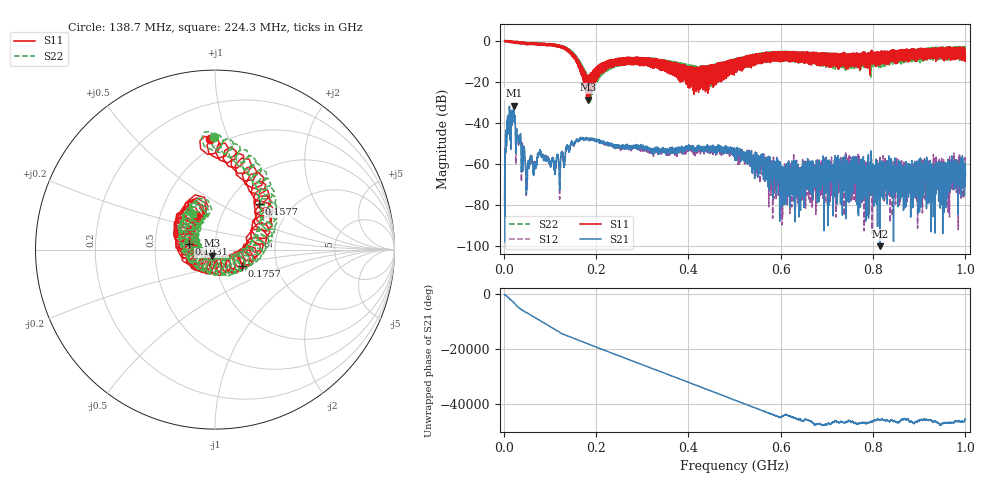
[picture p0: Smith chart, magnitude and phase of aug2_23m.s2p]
!Keysight Technologies N9923A: A.12.45
!Date: Saturday, 02 August 2025 19:11:17
!Timezone: (UTC+08:00) Kuala Lumpur, Singapore
!Model: N9923A
!Serial: MY61181427
!GPS Latitude:
!GPS Longitude:
!GPS TimeStamp: 0001-01-01 00:00:00Z
!GPS Seconds Since Last Read: 0
!CHECKSUM:1922865536
!Correction: S11(ON U)S21(ON U)S12(ON U)S22(ON U)
!S2P File: Measurements:S11,S21,S12,S22:
# Hz S DB R 50
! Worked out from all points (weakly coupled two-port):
!   4001 points, 2 MHz to 1 GHz, reference 50 ohm
!   highest |S21| = -31.62 dB at 21.96 MHz (marker M1); lowest = -100.3 dB at 814.4 MHz (marker M2)
!   lowest |S11| = -28.8 dB at 182.9 MHz (marker M3), VSWR 1.08, Z = 48.4 - j3.2 ohm
!   |S11| at or under -10 dB: 162.4 MHz to 223.5 MHz (61.04 MHz wide, 31.6 % of centre); 223.7 MHz to 225.2 MHz (1.481 MHz wide, 0.66 % of centre); 352.9 MHz to 484.7 MHz (131.8 MHz wide, 31.5 % of centre) (the widest 3 of 281)
!   |S22| runs from -30.3 to 0.1 dB; largest |S21 - S12| = 0.0026
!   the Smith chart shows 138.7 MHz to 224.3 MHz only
!   S11 on the Smith chart (normalised r, x): 138.7 MHz: 0.43, +0.86; 157.7 MHz: 1.39, +0.80; 175.7 MHz: 1.33, -0.26; 193.1 MHz: 0.75, +0.04; 224.3 MHz: 0.76, +0.30
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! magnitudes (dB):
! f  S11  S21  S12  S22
! 2 MHz  -0.1  -80.1  -77.5  -0.1
! 8.487 MHz  0.0  -36.7  -36.5  -0.2
! 17.22 MHz  -0.5  -35.8  -35.9  -0.6
! 21.96 MHz  -0.6  -31.6  -32.0  -0.7
! 51.9 MHz  -1.1  -61.4  -61.6  -0.8
! 78.1 MHz  -2.2  -54.1  -53.5  -2.0
! 117.8 MHz  -2.7  -57.0  -56.9  -2.3
! 138.7 MHz  -4.2  -51.9  -52.0  -4.1
! 157.7 MHz  -9.1  -48.3  -49.1  -7.9
! 168.4 MHz  -14.9  -47.6  -48.0  -15.0
! 175.7 MHz  -15.0  -47.8  -48.2  -14.3
! 182.9 MHz  -28.8  -47.6  -48.2  -22.8
! 193.1 MHz  -16.7  -48.1  -48.5  -23.4
! 224.3 MHz  -13.4  -50.0  -50.9  -12.5
! 334.8 MHz  -11.6  -53.7  -53.5  -9.4
! 417.2 MHz  -24.8  -53.9  -54.7  -15.0
! 501 MHz  -12.4  -53.9  -57.3  -13.4
! 606.5 MHz  -9.5  -68.3  -71.9  -6.8
! 667.4 MHz  -6.7  -62.1  -70.3  -10.4
! 814.4 MHz  -7.3  -100.3  -64.0  -8.8
! 833.8 MHz  -6.8  -65.7  -73.9  -7.9
! 1 GHz  -7.1  -66.9  -66.1  -2.8
